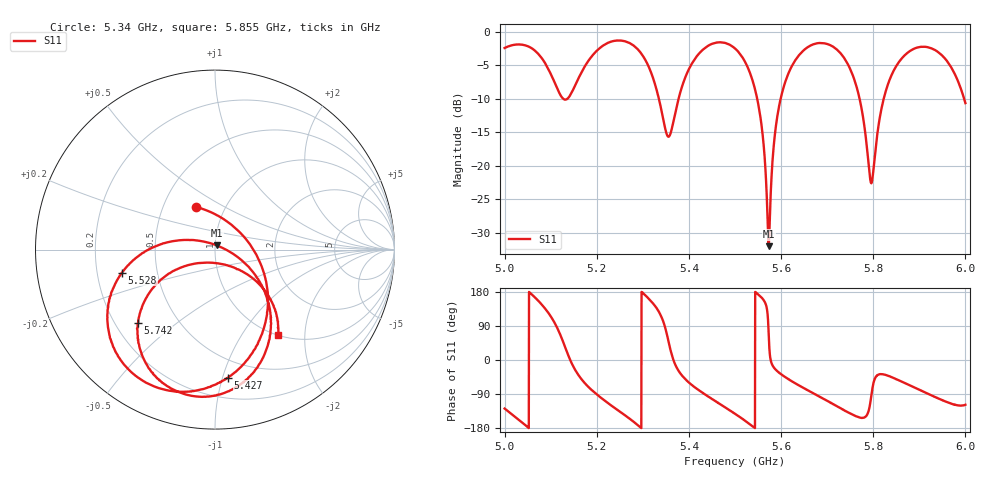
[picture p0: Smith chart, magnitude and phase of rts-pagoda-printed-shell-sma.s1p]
# HZ S RI R 50
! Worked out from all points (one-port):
!   2020 points, 5 GHz to 6 GHz, reference 50 ohm
!   lowest |S11| = -32.0 dB at 5.573 GHz (marker M1), VSWR 1.05, Z = 50.8 + j2.4 ohm
!   |S11| at or under -10 dB: 5.335 GHz to 5.377 GHz (42.68 MHz wide, 0.797 % of centre); 5.548 GHz to 5.599 GHz (50.83 MHz wide, 0.912 % of centre); 5.77 GHz to 5.823 GHz (52.28 MHz wide, 0.902 % of centre)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
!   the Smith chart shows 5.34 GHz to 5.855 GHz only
!   S11 on the Smith chart (normalised r, x): 5.34 GHz: 0.73, +0.37; 5.427 GHz: 0.35, -1.04; 5.528 GHz: 0.31, -0.11; 5.742 GHz: 0.29, -0.37; 5.855 GHz: 1.00, -1.47
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5e9  -0.4677 -0.5951
5.058445e9  -0.7503 0.0835
5.093611e9  -0.3213 0.4319
5.12531e9  0.1929 0.2571
5.157009e9  0.3538 -0.2367
5.195146e9  0.0495 -0.692
5.250124e9  -0.6217 -0.5955
5.292719e9  -0.7142 -0.0551
5.340268e9  -0.105 0.2372
5.356117e9  0.1131 0.1201
5.375434e9  0.2696 -0.122
5.426944e9  0.0715 -0.7138
5.46211e9  -0.3131 -0.7717
5.500248e9  -0.592 -0.4593
5.52848e9  -0.5186 -0.1287
5.555721e9  -0.2188 0.0496
5.573056e9  0.00898 0.0235
5.592373e9  0.2082 -0.1203
5.625062e9  0.3049 -0.4798
5.682517e9  -0.0885 -0.8195
5.742447e9  -0.4304 -0.4099
5.750372e9  -0.4083 -0.3285
5.795939e9  -0.00489 -0.074
5.821694e9  0.2417 -0.188
5.855374e9  0.3523 -0.4762
5.875186e9  0.3013 -0.6321
5.927192e9  -0.0491 -0.7486
6.000001e9  -0.1382 -0.2594
